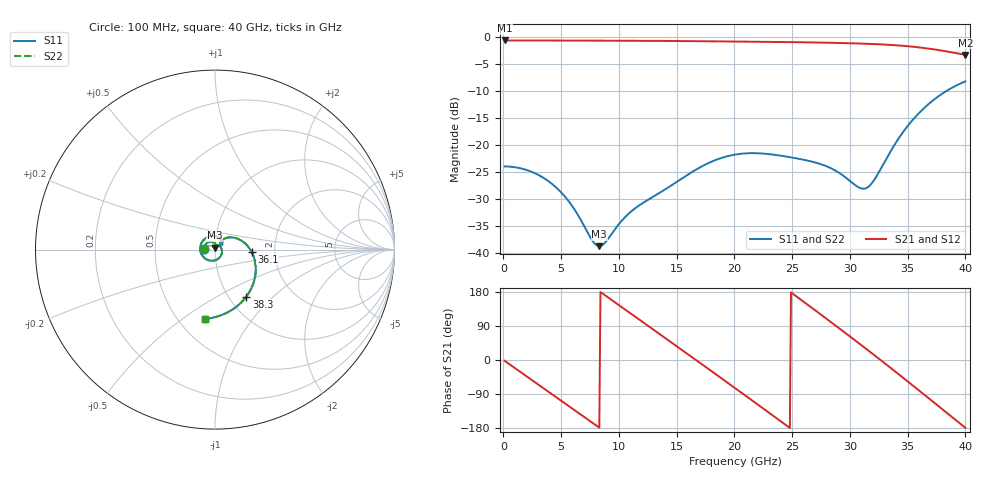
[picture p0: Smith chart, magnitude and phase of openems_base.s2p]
! C_s8_nonfp: L1→L8, antipad Ø0.9, non-functional pads removed
! stackup: 8-layer 1.6 mm FR-4 (generic)
! ports: 1, 2
! openEMS 0.37.0, staircase, base mesh (dfine 0.035 mm), 637065 cells
# Hz S RI R 50
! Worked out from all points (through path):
!   400 points, 100 MHz to 40 GHz, reference 50 ohm
!   highest |S21| = -0.57 dB at 100 MHz (marker M1); lowest = -3.2 dB at 40 GHz (marker M2)
!   group delay of S21, straight-line fit = 62 ps
!   lowest |S11| = -38.8 dB at 8.3 GHz (marker M3), VSWR 1.02, Z = 49.9 + j1.14 ohm
!   |S11| at or under -10 dB: start of sweep to 38.33 GHz
!   |S22| runs from -38.8 to -8.2 dB; largest |S21 - S12| = 2.1e-06
!   S11 on the Smith chart (normalised r, x): 100 MHz: 0.88, +0.00; 36.1 GHz: 1.51, -0.04; 38.3 GHz: 1.20, -0.70; 40 GHz: 0.67, -0.61
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1e8  -0.0632 0.00195  0.9359 -0.0351  0.9359 -0.0351  -0.0632 0.00195
1.7e9  -0.0518 0.0301  0.7521 -0.5574  0.7521 -0.5574  -0.0518 0.0301
3.6e9  -0.0216 0.0434  0.2045 -0.9128  0.2045 -0.9128  -0.0216 0.0434
5.1e9  -0.00109 0.0353  -0.3139 -0.8804  -0.3139 -0.8804  -0.00109 0.0353
6.8e9  0.00555 0.0184  -0.7758 -0.5196  -0.7758 -0.5196  0.00555 0.0184
8.3e9  -0.000437 0.0115  -0.9325 -0.0245  -0.9325 -0.0245  -0.000437 0.0115
1.11e10  0.00444 0.0239  -0.4799 0.7976  -0.4799 0.7976  0.00444 0.0239
1.34e10  0.0343 0.00818  0.2994 0.8785  0.2994 0.8785  0.0343 0.00818
1.52e10  0.0337 -0.0325  0.784 0.4909  0.784 0.4909  0.0337 -0.0325
1.67e10  0.00193 -0.0592  0.922 -0.0102  0.922 -0.0102  0.00193 -0.0592
1.83e10  -0.0465 -0.0549  0.7471 -0.5347  0.7471 -0.5347  -0.0465 -0.0549
2.01e10  -0.0808 -0.0108  0.2356 -0.8843  0.2356 -0.8843  -0.0808 -0.0108
2.18e10  -0.0744 0.0388  -0.35 -0.8418  -0.35 -0.8418  -0.0744 0.0388
2.38e10  -0.0357 0.0718  -0.835 -0.3542  -0.835 -0.3542  -0.0357 0.0718
2.67e10  0.022 0.0665  -0.6654 0.603  -0.6654 0.603  0.022 0.0665
2.82e10  0.0395 0.0477  -0.2111 0.8664  -0.2111 0.8664  0.0395 0.0477
2.97e10  0.0406 0.0279  0.3135 0.8267  0.3135 0.8267  0.0406 0.0279
3.17e10  0.0281 0.0309  0.8037 0.3345  0.8037 0.3345  0.0281 0.0309
3.34e10  0.055 0.0622  0.8122 -0.2606  0.8122 -0.2606  0.055 0.0622
3.61e10  0.2036 -0.0116  0.0944 -0.799  0.0944 -0.799  0.2036 -0.0116
3.83e10  0.1742 -0.2621  -0.5457 -0.5049  -0.5457 -0.5049  0.1742 -0.2621
4e10  -0.0561 -0.3861  -0.6879 -0.0129  -0.6879 -0.0129  -0.0561 -0.3861
